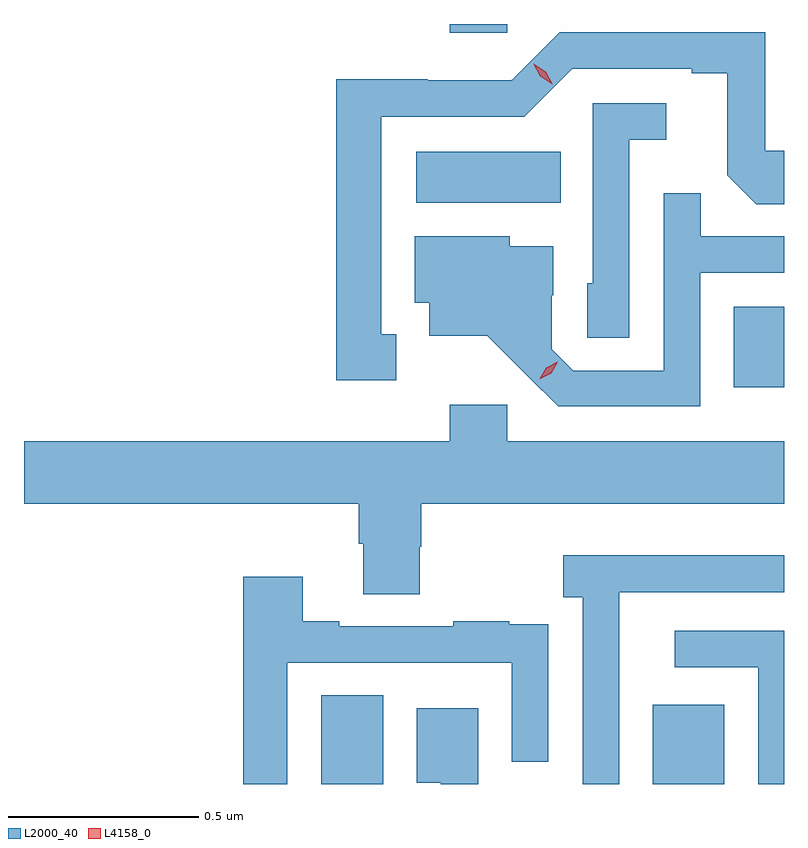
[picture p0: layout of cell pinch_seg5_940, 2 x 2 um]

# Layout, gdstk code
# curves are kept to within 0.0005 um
import gdstk
lib = gdstk.Library(unit=1e-6, precision=1e-09)
def R(c, l, rs):  # rectangles x0, y0, x1, y1
    for r in rs: c.add(gdstk.rectangle(r[:2], r[2:], *l))
def P(c, l, *ps):  # polygons
    for p in ps: c.add(gdstk.Polygon(p, *l))
L2000_40 = (2000, 40)
L4158_0 = (4158, 0)

pinch_seg5_940 = lib.new_cell('pinch_seg5_940')
R(pinch_seg5_940, L2000_40, [(724.094,881.33,724.258,881.564), (724.967,881.33,725.155,881.539), (725.18,882.374,725.312,882.586), (724.344,882.86,724.724,882.994), (724.433,883.307,724.584,883.33)])
P(pinch_seg5_940, L2000_40, [(724.291,882.513),(724.252,882.513),(724.252,883.086),(724.629,883.086),(724.755,883.212),(725.069,883.212),(725.069,883.2),(725.163,883.2),(725.163,882.932),(725.239,882.856),(725.312,882.856),(725.312,882.996),(725.262,882.996),(725.262,883.308),(724.722,883.308),(724.596,883.182),(724.374,883.182),(724.374,883.184),(724.134,883.184),(724.134,882.393),(724.291,882.393)],
  [(724.905,883.025),(725.002,883.025),(725.002,883.122),(724.809,883.122),(724.809,882.648),(724.794,882.648),(724.794,882.505),(724.905,882.505)],
  [(725.091,882.675),(725.312,882.675),(725.312,882.771),(725.093,882.771),(725.093,882.884),(724.995,882.884),(724.995,882.417),(724.758,882.417),(724.701,882.474),(724.701,882.616),(724.705,882.616),(724.705,882.745),(724.59,882.745),(724.59,882.772),(724.34,882.772),(724.34,882.596),(724.379,882.596),(724.379,882.509),(724.531,882.509),(724.718,882.324),(725.091,882.324)],
  [(724.353,881.955),(724.358,881.955),(724.358,882.068),(725.312,882.068),(725.312,882.232),(724.584,882.232),(724.584,882.328),(724.433,882.328),(724.433,882.232),(723.312,882.232),(723.312,882.068),(724.193,882.068),(724.193,881.962),(724.205,881.962),(724.205,881.83),(724.353,881.83)],
  [(724.878,881.635),(724.879,881.635),(724.879,881.835),(725.312,881.835),(725.312,881.932),(724.731,881.932),(724.731,881.822),(724.782,881.822),(724.782,881.33),(724.878,881.33)],
  [(724.005,881.649),(724.596,881.649),(724.596,881.388),(724.692,881.388),(724.692,881.642),(724.691,881.642),(724.691,881.751),(724.589,881.751),(724.589,881.758),(724.441,881.758),(724.441,881.745),(724.141,881.745),(724.141,881.758),(724.045,881.758),(724.045,881.875),(723.889,881.875),(723.889,881.33),(724.005,881.33)],
  [(725.312,881.733),(725.025,881.733),(725.025,881.637),(725.244,881.637),(725.244,881.33),(725.312,881.33)],
  [(724.507,881.53),(724.346,881.53),(724.346,881.333),(724.409,881.333),(724.409,881.33),(724.507,881.33)])
P(pinch_seg5_940, L4158_0, [(724.669,882.396),(724.669,882.396),(724.686,882.426),(724.717,882.441),(724.717,882.441),(724.717,882.441),(724.7,882.411),(724.67,882.396)],
  [(724.702,883.172),(724.67,883.192),(724.653,883.224),(724.653,883.225),(724.654,883.225),(724.685,883.205),(724.702,883.173),(724.702,883.172)])

lib.write_gds('pinch_seg5_940.gds')
